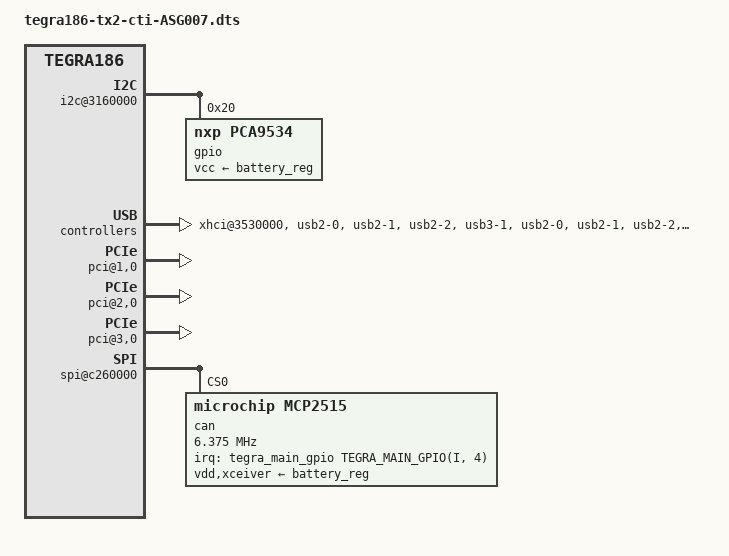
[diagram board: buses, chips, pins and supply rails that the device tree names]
#include "tegra186-tx2-cti-base.dts"

/{
    nvidia,dtsfilename = "tegra186-tx2-cti-ASG007.dts";

    gpio@2200000 {
    /*enable this to enabled PCIe Controller #2*/
        pcie0_lane2_mux {
             status = "okay";
        };
    /******************************************/
    /*enable these two to enable USB3 Port 0*/
        e3325_sdio_rst {
           status = "disabled";
        };
        e3325_lane0_mux {
            status = "disabled";
        };
    /******************************************/

    };
    i2c@3160000 {

        gpio@74{
            status = "disabled";


        };
        gpio@77{
            status = "disabled";

        };

        gpio@20 {
            compatible = "nxp,pca9534";
            status = "okay";
            reg = <0x20>;
            gpio-controller;
            #gpio-cells = <2>;
            vcc-supply = <&battery_reg>;
        };

    };



    xhci@3530000 {
        status = "okay";
        phys = <&{/xusb_padctl@3520000/pads/usb2/lanes/usb2-0}>,
            <&{/xusb_padctl@3520000/pads/usb2/lanes/usb2-1}>,
            <&{/xusb_padctl@3520000/pads/usb2/lanes/usb2-2}>,
            <&{/xusb_padctl@3520000/pads/usb3/lanes/usb3-1}>;
        phy-names = "usb2-0", "usb2-1", "usb2-2", "usb3-1";
    };


   xusb_padctl@3520000 {
        pads {
            usb2 {
                lanes {
                    usb2-0 {
                        status = "okay";
                    };
                    usb2-1 {
                        status = "okay";
                    };
                    usb2-2 {
                        status = "okay";
                    };
                };
            };
            usb3 {
                lanes {
                    usb3-0 {
                        status = "disabled";
                    };
                    usb3-1 {
                        status = "okay";
                    };
                    usb3-2 {
                        status = "disabled";
                    };
                };
            };
        };
        ports {
            usb2-0 {
                status = "okay";
            };
            usb2-1 {
                status = "okay";
            };

            usb2-2 {
                status = "okay";
            };

            usb3-0 {
                nvidia,usb2-companion = <0>;
                status = "disabled";
            };
            usb3-1 {
                nvidia,usb2-companion = <1>;
                status = "okay";
            };
            usb3-2 {
                nvidia,usb2-companion = <2>;
                status = "disabled";
            };
        };
    };
/*
    pinctrl@3520000 {
        status = "okay";
           pinmux {
            usb2-port0 {
                status = "okay";
            };
            usb2-port1 {
                status = "okay";
            };

            usb2-port2 {
                status = "okay";
            };

            usb3-port0 {
                status = "disabled";
            };

            usb3-port1 {
                status = "okay";
            };

            usb3-port2 {
                status = "disabled";
            };
        };
    };
*/

        pinctrl@3520000 {
                status = "okay";
                pinctrl-0 = <&tegra_xusb_padctl_pinmux_default>;
                pinctrl-1 = <&vbus_en0_sfio_tristate_state>;
                pinctrl-2 = <&vbus_en1_sfio_tristate_state>;
                pinctrl-3 = <&vbus_en0_sfio_passthrough_state>;
                pinctrl-4 = <&vbus_en1_sfio_passthrough_state>;
                pinctrl-5 = <&vbus_en0_default_state>;
                pinctrl-6 = <&vbus_en1_default_state>;
                pinctrl-names = "default",
                        "vbus_en0_sfio_tristate", "vbus_en1_sfio_tristate",
                        "vbus_en0_sfio_passthrough", "vbus_en1_sfio_passthrough",
                        "vbus_en0_default", "vbus_en1_default";
                tegra_xusb_padctl_pinmux_default: pinmux {
                        /* Quill does not support usb3-micro AB */
                        usb2-micro-AB {
                                nvidia,lanes = "otg-0";
                                nvidia,function = "xusb";
                                nvidia,port-cap = <TEGRA_PADCTL_PORT_OTG_CAP>;
                                nvidia,oc-pin = <0>;
                        };
                        usb2-std-A-port2 {
                                nvidia,lanes = "otg-1";
                                nvidia,function = "xusb";
                                nvidia,port-cap = <TEGRA_PADCTL_PORT_HOST_ONLY>;
                                nvidia,oc-pin = <1>;
                        };
                        usb3-std-A-port2 {
                                nvidia,lanes = "usb3-1";
                                nvidia,port-cap = <TEGRA_PADCTL_PORT_HOST_ONLY>;
                                nvidia,oc-pin = <1>;
                        };

                        e3325-usb3-std-A-HS {
                                nvidia,lanes = "otg-2";
                                nvidia,function = "xusb";
                                nvidia,port-cap = <TEGRA_PADCTL_PORT_HOST_ONLY>;
                                status = "disabled";
                        };

                        e3325-usb3-std-A-SS {
                                nvidia,lanes = "usb3-0";
                                nvidia,port-cap = <TEGRA_PADCTL_PORT_HOST_ONLY>;
                                status = "disabled";
                        };
                };
        };


        fixed-regulators {
                regulator@1 {
                        gpio = <&tegra_main_gpio TEGRA_MAIN_GPIO(P, 6) 0>;
        };
        regulator@2 {
            regulator-always-on;
            /delete-property/ gpio;
            /delete-property/ enable-active-high;
        };
        regulator@3 {
            regulator-always-on;
            /delete-property/ gpio;

        };
        regulator@6 {
            regulator-always-on;
            /delete-property/ gpio;
        };
        regulator@7 {
            regulator-always-on;
            /delete-property/ gpio;
        };
        regulator@8 {
            regulator-always-on;
            /delete-property/ gpio;
        };
        regulator@9 {
            regulator-always-on;
            /delete-property/ gpio;
        };
        regulator@10 {
            regulator-always-on;
            /delete-property/ gpio;
        };
        regulator@11 {
            regulator-always-on;
            /delete-property/ gpio;
        };
        regulator@12 {
            regulator-always-on;
            /delete-property/ gpio;
        };
        regulator@13 { //fixes PWM fan
            regulator-always-on;
            /delete-property/ gpio;
        };
        regulator@15 {
            regulator-always-on;
            /delete-property/ gpio;
        };
        regulator@17 {
            regulator-always-on;
            /delete-property/ gpio;
        };
        regulator@118 {
            regulator-always-on;
            /delete-property/ gpio;
        };
        };


    pcie-controller@10003000 {
        pci@1,0 {
            nvidia,num-lanes = <2>;
            status = "okay";
        };
        pci@2,0 {
            nvidia,num-lanes = <1>;
            status = "okay";
        };
        pci@3,0 {
            nvidia,num-lanes = <1>;
            status = "okay";
        };
    };
    spi@c260000 {
        status = "okay";
        /delete-node/ spi-touch-sharp19x12@0;
        can@0 {
            status = "okay";
            compatible = "microchip,mcp2515";
            reg = <0>;
            clocks = <&can_clock>;
            interrupt-parent = <&tegra_main_gpio>;
                /* the first cell defines the
                    index of the interrupt within the controller, while the second cell is used
                    to specify any of the following flags:
                    - bits[3:0] trigger type and level flags
                    1 = low-to-high edge triggered
                    2 = high-to-low edge triggered
                    4 = active high level-sensitive
                    8 = active low level-sensitive
                */
          interrupts = <TEGRA_MAIN_GPIO(I, 4) 0x2>;
          vdd-supply = <&battery_reg>;
          xceiver-supply = <&battery_reg>;
          spi-max-frequency=<6375000>;
       };
    };


};
